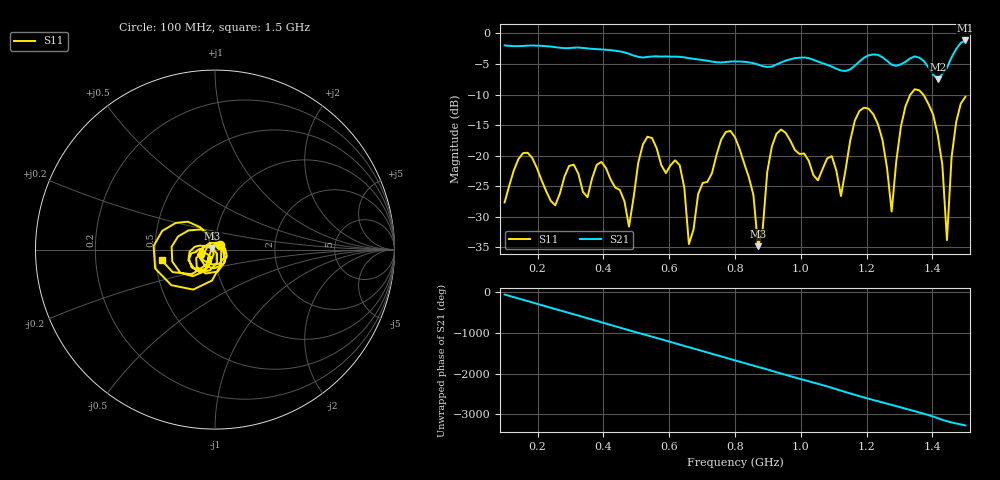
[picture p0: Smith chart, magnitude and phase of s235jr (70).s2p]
! NanoVNA-App
! Date: 2025-09-26 09:45:20
! Start: 100MHz Stop: 1,5GHz Points: 101
! S-Parameter data: F S11 S21 S12 S22
# Hz S RI R 50
!  Frequency  S11_Real  S11_Imag  S21_Real  S21_Imag  S12_Real  S12_Imag  S22_Real  S22_Imag
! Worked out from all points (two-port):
!   101 points, 100 MHz to 1.5 GHz, reference 50 ohm
!   highest |S21| = -1.14 dB at 1.5 GHz (marker M1); lowest = -7.5 dB at 1.416 GHz (marker M2)
!   |S21| within 3 dB of the highest: start of sweep to 672.7 MHz; 1.188 GHz to 1.254 GHz (65.71 MHz wide, 5.38 % of centre) (the widest 2 of 5)
!   lowest |S11| = -34.8 dB at 870 MHz (marker M3), VSWR 1.04, Z = 48.5 + j0.946 ohm
!   |S11| at or under -10 dB: start of sweep to 1.333 GHz; 1.372 GHz to end of sweep
!   S12 and S22 are empty: the file has one direction only
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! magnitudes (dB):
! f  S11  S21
! 100 MHz  -27.6  -2.0
! 156 MHz  -19.6  -2.0
! 338 MHz  -25.9  -2.4
! 394 MHz  -21.0  -2.6
! 478 MHz  -31.6  -3.3
! 520 MHz  -18.2  -3.9
! 576 MHz  -21.5  -3.8
! 632 MHz  -21.6  -3.8
! 660 MHz  -34.5  -4.0
! 800 MHz  -17.0  -4.6
! 870 MHz  -34.8  -5.1
! 926 MHz  -16.4  -5.1
! 1.038 GHz  -23.1  -4.3
! 1.094 GHz  -20.1  -5.4
! 1.122 GHz  -26.6  -6.1
! 1.206 GHz  -12.3  -3.6
! 1.276 GHz  -29.1  -5.1
! 1.332 GHz  -10.1  -4.1
! 1.416 GHz  -16.6  -7.5
! 1.444 GHz  -33.8  -5.6
! 1.458 GHz  -20.3  -3.9
! 1.5 GHz  -10.4  -1.1
